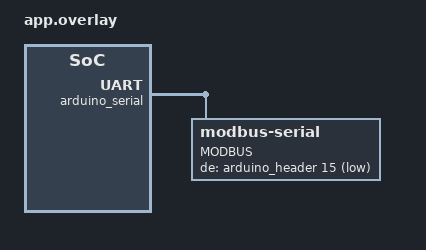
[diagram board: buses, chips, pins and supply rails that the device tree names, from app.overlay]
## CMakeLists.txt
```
# SPDX-License-Identifier: Apache-2.0

cmake_minimum_required(VERSION 3.28.0)

find_package(Zephyr REQUIRED HINTS $ENV{ZEPHYR_BASE})
project(modbus-rtu-server)

target_sources(app PRIVATE src/main.c)
```

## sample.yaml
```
sample:
  name: Modbus RTU Server Sample
tests:
  sample.modbus.rtu_server:
    build_only: true
    platform_allow:
      - nrf52840dk_nrf52840
      - frdm_k64f
      - stm32f4_disco
    integration_platforms:
      - nrf52840dk_nrf52840
      - stm32f4_disco
    tags:
      - uart
      - modbus
    filter: dt_enabled_alias_with_parent_compat("led0", "gpio-leds") and
            dt_enabled_alias_with_parent_compat("led1", "gpio-leds") and
            dt_enabled_alias_with_parent_compat("led2", "gpio-leds")
    depends_on:
      - gpio
      - arduino_serial
  sample.modbus.rtu_server.cdc_acm:
    build_only: true
    platform_allow:
      - nrf52840dk_nrf52840
      - frdm_k64f
    integration_platforms:
      - nrf52840dk_nrf52840
    tags:
      - usb
      - modbus
    filter: dt_enabled_alias_with_parent_compat("led0", "gpio-leds") and
            dt_enabled_alias_with_parent_compat("led1", "gpio-leds") and
            dt_enabled_alias_with_parent_compat("led2", "gpio-leds")
    extra_args:
      - OVERLAY_CONFIG="overlay-cdc-acm.conf"
      - DTC_OVERLAY_FILE="cdc-acm.overlay"
    depends_on: usb_device
```

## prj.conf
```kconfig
CONFIG_LOG=y
CONFIG_GPIO=y
CONFIG_SERIAL=y
CONFIG_UART_INTERRUPT_DRIVEN=y
CONFIG_UART_LINE_CTRL=n

CONFIG_MODBUS=y
CONFIG_MODBUS_ROLE_SERVER=y
```

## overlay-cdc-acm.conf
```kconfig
CONFIG_USB_DEVICE_STACK_NEXT=y
CONFIG_CDC_ACM_SERIAL_INITIALIZE_AT_BOOT=y
CONFIG_CDC_ACM_SERIAL_PRODUCT_STRING="Zephyr CDC ACM MODBUS sample"
CONFIG_UART_LINE_CTRL=y
```

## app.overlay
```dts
/*
 * Copyright (c) 2020 Phytec Messtechnik GmbH
 *
 * SPDX-License-Identifier: Apache-2.0
 */

&arduino_serial {
	status = "okay";

	modbus0 {
		compatible = "zephyr,modbus-serial";
		label = "MODBUS";
		status = "okay";
		de-gpios = <&arduino_header 15 GPIO_ACTIVE_LOW>;	/* D9 */
	};
};
```

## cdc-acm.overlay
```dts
/*
 * Copyright (c) 2022 Nordic Semiconductor ASA
 *
 * SPDX-License-Identifier: Apache-2.0
 */

&zephyr_udc0 {
	cdc_acm_uart0: cdc_acm_uart0 {
		compatible = "zephyr,cdc-acm-uart";

		modbus0 {
			compatible = "zephyr,modbus-serial";
			status = "okay";
		};
	};
};
```

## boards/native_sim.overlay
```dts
// SPDX-License-Identifier: Apache-2.0
/*
 *Copyright (c) 2026 Wilmers Messtechnik GmbH
 */

/ {
	aliases {
		led0 = &led0;
		led1 = &led0;
		led2 = &led0;
	};

	uart1: uart_1 {
		compatible = "zephyr,native-pty-uart";
		status = "okay";
		current-speed = <19200>;

		modbus0 {
			compatible = "zephyr,modbus-serial";
			status = "okay";
		};
	};
};
```

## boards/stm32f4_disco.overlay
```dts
/*
 * Copyright (c) 2024 LakshmiNarasimman R
 *
 * SPDX-License-Identifier: Apache-2.0
 */

&usart1 {
	pinctrl-0 = <&usart1_tx_pb6 &usart1_rx_pb7>;
	pinctrl-names = "default";
	current-speed = <19200>;
	status = "okay";

	modbus0 {
		compatible = "zephyr,modbus-serial";
		status = "okay";
		de-gpios = <&gpiob 8 GPIO_ACTIVE_HIGH>;
	};
};
```

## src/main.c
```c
/*
 * Copyright (c) 2020 PHYTEC Messtechnik GmbH
 * Copyright (c) 2022 Nordic Semiconductor ASA
 *
 * SPDX-License-Identifier: Apache-2.0
 */

#include <zephyr/kernel.h>
#include <zephyr/sys/util.h>
#include <zephyr/drivers/gpio.h>
#include <zephyr/modbus/modbus.h>

#include <zephyr/logging/log.h>
LOG_MODULE_REGISTER(mbs_sample, LOG_LEVEL_INF);

static uint16_t holding_reg[8];
static uint8_t coils_state;

static const struct gpio_dt_spec led_dev[] = {
	GPIO_DT_SPEC_GET(DT_ALIAS(led0), gpios),
	GPIO_DT_SPEC_GET(DT_ALIAS(led1), gpios),
	GPIO_DT_SPEC_GET(DT_ALIAS(led2), gpios),
};

static int coil_rd(uint16_t addr, bool *state)
{
	if (addr >= ARRAY_SIZE(led_dev)) {
		return -ENOTSUP;
	}

	if (coils_state & BIT(addr)) {
		*state = true;
	} else {
		*state = false;
	}

	LOG_INF("Coil read, addr %u, %d", addr, (int)*state);

	return 0;
}

static int coil_wr(uint16_t addr, bool state)
{
	bool on;

	if (addr >= ARRAY_SIZE(led_dev)) {
		return -ENOTSUP;
	}


	if (state == true) {
		coils_state |= BIT(addr);
		on = true;
	} else {
		coils_state &= ~BIT(addr);
		on = false;
	}

	gpio_pin_set(led_dev[addr].port, led_dev[addr].pin, (int)on);

	LOG_INF("Coil write, addr %u, %d", addr, (int)state);

	return 0;
}

static int holding_reg_rd(uint16_t addr, uint16_t *reg)
{
	if (addr >= ARRAY_SIZE(holding_reg)) {
		return -ENOTSUP;
	}

	*reg = holding_reg[addr];

	LOG_INF("Holding register read, addr %u", addr);

	return 0;
}

static int holding_reg_wr(uint16_t addr, uint16_t reg)
{
	if (addr >= ARRAY_SIZE(holding_reg)) {
		return -ENOTSUP;
	}

	holding_reg[addr] = reg;

	LOG_INF("Holding register write, addr %u", addr);

	return 0;
}

static struct modbus_user_callbacks mbs_cbs = {
	.coil_rd = coil_rd,
	.coil_wr = coil_wr,
	.holding_reg_rd = holding_reg_rd,
	.holding_reg_wr = holding_reg_wr,
};

const static struct modbus_iface_param server_param = {
	.mode = MODBUS_MODE_RTU,
	.server = {
		.user_cb = &mbs_cbs,
		.unit_id = 1,
	},
	.serial = {
		.baud = 19200,
		.parity = UART_CFG_PARITY_NONE,
	},
};

#define MODBUS_NODE DT_COMPAT_GET_ANY_STATUS_OKAY(zephyr_modbus_serial)

static int init_modbus_server(void)
{
	const char iface_name[] = {DEVICE_DT_NAME(MODBUS_NODE)};
	int iface;

	iface = modbus_iface_get_by_name(iface_name);

	if (iface < 0) {
		LOG_ERR("Failed to get iface index for %s", iface_name);
		return iface;
	}

	return modbus_init_server(iface, server_param);
}

int main(void)
{
	int err;

	for (int i = 0; i < ARRAY_SIZE(led_dev); i++) {
		if (!gpio_is_ready_dt(&led_dev[i])) {
			LOG_ERR("LED%u GPIO device not ready", i);
			return 0;
		}

		err = gpio_pin_configure_dt(&led_dev[i], GPIO_OUTPUT_INACTIVE);
		if (err != 0) {
			LOG_ERR("Failed to configure LED%u pin", i);
			return 0;
		}
	}

#if DT_NODE_HAS_COMPAT(DT_PARENT(MODBUS_NODE), zephyr_cdc_acm_uart)
	const struct device *const dev = DEVICE_DT_GET(DT_PARENT(MODBUS_NODE));
	uint32_t dtr = 0;

	if (!device_is_ready(dev)) {
		return 0;
	}

	while (!dtr) {
		uart_line_ctrl_get(dev, UART_LINE_CTRL_DTR, &dtr);
		k_sleep(K_MSEC(100));
	}

	LOG_INF("Client connected to server on %s", dev->name);
#endif

	if (init_modbus_server()) {
		LOG_ERR("Modbus RTU server initialization failed");
	}
	return 0;
}
```
